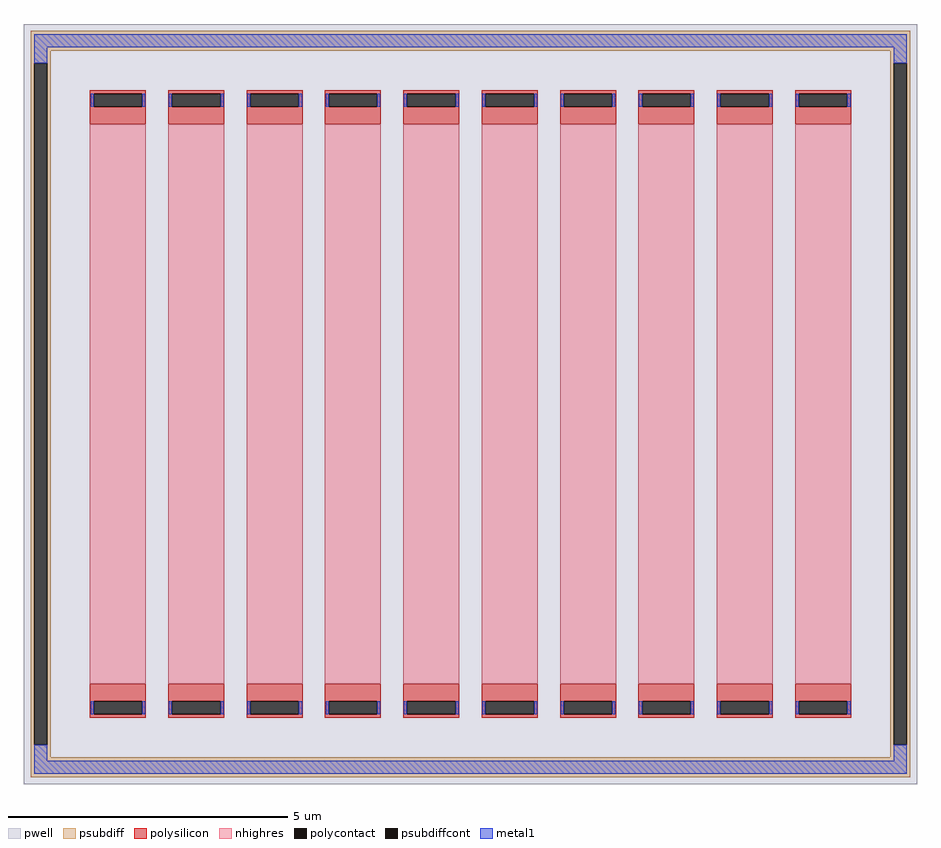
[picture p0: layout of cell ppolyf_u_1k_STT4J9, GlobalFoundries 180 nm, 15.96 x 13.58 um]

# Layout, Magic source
magic
tech gf180mcuD
magscale 1 10
<< pwell >>
rect -1596 -1358 1596 1358
<< psubdiff >>
rect -1572 1262 1572 1334
rect -1572 1218 -1500 1262
rect -1572 -1218 -1559 1218
rect -1513 -1218 -1500 1218
rect 1500 1218 1572 1262
rect -1572 -1262 -1500 -1218
rect 1500 -1218 1513 1218
rect 1559 -1218 1572 1218
rect 1500 -1262 1572 -1218
rect -1572 -1334 1572 -1262
<< psubdiffcont >>
rect -1559 -1218 -1513 1218
rect 1513 -1218 1559 1218
<< polysilicon >>
rect -1360 1109 -1160 1122
rect -1360 1063 -1347 1109
rect -1173 1063 -1160 1109
rect -1360 1000 -1160 1063
rect -1360 -1063 -1160 -1000
rect -1360 -1109 -1347 -1063
rect -1173 -1109 -1160 -1063
rect -1360 -1122 -1160 -1109
rect -1080 1109 -880 1122
rect -1080 1063 -1067 1109
rect -893 1063 -880 1109
rect -1080 1000 -880 1063
rect -1080 -1063 -880 -1000
rect -1080 -1109 -1067 -1063
rect -893 -1109 -880 -1063
rect -1080 -1122 -880 -1109
rect -800 1109 -600 1122
rect -800 1063 -787 1109
rect -613 1063 -600 1109
rect -800 1000 -600 1063
rect -800 -1063 -600 -1000
rect -800 -1109 -787 -1063
rect -613 -1109 -600 -1063
rect -800 -1122 -600 -1109
rect -520 1109 -320 1122
rect -520 1063 -507 1109
rect -333 1063 -320 1109
rect -520 1000 -320 1063
rect -520 -1063 -320 -1000
rect -520 -1109 -507 -1063
rect -333 -1109 -320 -1063
rect -520 -1122 -320 -1109
rect -240 1109 -40 1122
rect -240 1063 -227 1109
rect -53 1063 -40 1109
rect -240 1000 -40 1063
rect -240 -1063 -40 -1000
rect -240 -1109 -227 -1063
rect -53 -1109 -40 -1063
rect -240 -1122 -40 -1109
rect 40 1109 240 1122
rect 40 1063 53 1109
rect 227 1063 240 1109
rect 40 1000 240 1063
rect 40 -1063 240 -1000
rect 40 -1109 53 -1063
rect 227 -1109 240 -1063
rect 40 -1122 240 -1109
rect 320 1109 520 1122
rect 320 1063 333 1109
rect 507 1063 520 1109
rect 320 1000 520 1063
rect 320 -1063 520 -1000
rect 320 -1109 333 -1063
rect 507 -1109 520 -1063
rect 320 -1122 520 -1109
rect 600 1109 800 1122
rect 600 1063 613 1109
rect 787 1063 800 1109
rect 600 1000 800 1063
rect 600 -1063 800 -1000
rect 600 -1109 613 -1063
rect 787 -1109 800 -1063
rect 600 -1122 800 -1109
rect 880 1109 1080 1122
rect 880 1063 893 1109
rect 1067 1063 1080 1109
rect 880 1000 1080 1063
rect 880 -1063 1080 -1000
rect 880 -1109 893 -1063
rect 1067 -1109 1080 -1063
rect 880 -1122 1080 -1109
rect 1160 1109 1360 1122
rect 1160 1063 1173 1109
rect 1347 1063 1360 1109
rect 1160 1000 1360 1063
rect 1160 -1063 1360 -1000
rect 1160 -1109 1173 -1063
rect 1347 -1109 1360 -1063
rect 1160 -1122 1360 -1109
<< polycontact >>
rect -1347 1063 -1173 1109
rect -1347 -1109 -1173 -1063
rect -1067 1063 -893 1109
rect -1067 -1109 -893 -1063
rect -787 1063 -613 1109
rect -787 -1109 -613 -1063
rect -507 1063 -333 1109
rect -507 -1109 -333 -1063
rect -227 1063 -53 1109
rect -227 -1109 -53 -1063
rect 53 1063 227 1109
rect 53 -1109 227 -1063
rect 333 1063 507 1109
rect 333 -1109 507 -1063
rect 613 1063 787 1109
rect 613 -1109 787 -1063
rect 893 1063 1067 1109
rect 893 -1109 1067 -1063
rect 1173 1063 1347 1109
rect 1173 -1109 1347 -1063
<< nhighres >>
rect -1360 -1000 -1160 1000
rect -1080 -1000 -880 1000
rect -800 -1000 -600 1000
rect -520 -1000 -320 1000
rect -240 -1000 -40 1000
rect 40 -1000 240 1000
rect 320 -1000 520 1000
rect 600 -1000 800 1000
rect 880 -1000 1080 1000
rect 1160 -1000 1360 1000
<< metal1 >>
rect -1559 1275 1559 1321
rect -1559 1218 -1513 1275
rect 1513 1218 1559 1275
rect -1358 1063 -1347 1109
rect -1173 1063 -1162 1109
rect -1078 1063 -1067 1109
rect -893 1063 -882 1109
rect -798 1063 -787 1109
rect -613 1063 -602 1109
rect -518 1063 -507 1109
rect -333 1063 -322 1109
rect -238 1063 -227 1109
rect -53 1063 -42 1109
rect 42 1063 53 1109
rect 227 1063 238 1109
rect 322 1063 333 1109
rect 507 1063 518 1109
rect 602 1063 613 1109
rect 787 1063 798 1109
rect 882 1063 893 1109
rect 1067 1063 1078 1109
rect 1162 1063 1173 1109
rect 1347 1063 1358 1109
rect -1358 -1109 -1347 -1063
rect -1173 -1109 -1162 -1063
rect -1078 -1109 -1067 -1063
rect -893 -1109 -882 -1063
rect -798 -1109 -787 -1063
rect -613 -1109 -602 -1063
rect -518 -1109 -507 -1063
rect -333 -1109 -322 -1063
rect -238 -1109 -227 -1063
rect -53 -1109 -42 -1063
rect 42 -1109 53 -1063
rect 227 -1109 238 -1063
rect 322 -1109 333 -1063
rect 507 -1109 518 -1063
rect 602 -1109 613 -1063
rect 787 -1109 798 -1063
rect 882 -1109 893 -1063
rect 1067 -1109 1078 -1063
rect 1162 -1109 1173 -1063
rect 1347 -1109 1358 -1063
rect -1559 -1275 -1513 -1218
rect 1513 -1275 1559 -1218
rect -1559 -1321 1559 -1275
<< properties >>
string FIXED_BBOX -1536 -1298 1536 1298
string gencell ppolyf_u_1k
string library gf180mcu
string parameters w 1.0 l 10.0 m 1 nx 10 wmin 1.000 lmin 1.000 class resistor rho 1000 val 10.0k dummy 0 dw 0.0 term 0.0 sterm 0.0 caplen 0.4 snake 0 glc 1 grc 1 gtc 0 gbc 0 roverlap 0 endcov 100 full_metal 1 compatible {ppolyf_u_1k ppolyf_u_1k_6p0}
<< end >>
